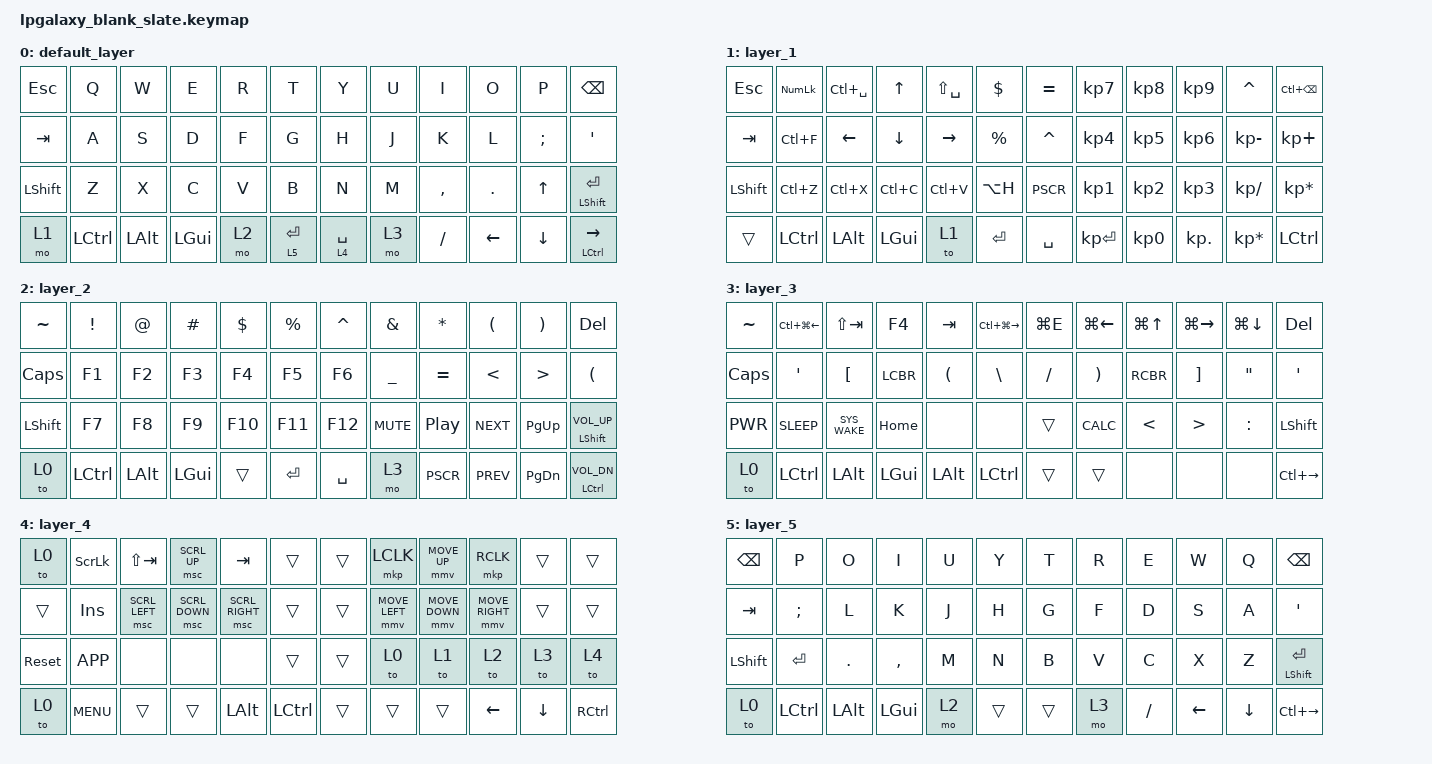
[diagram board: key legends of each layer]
#include <behaviors.dtsi>
#include <dt-bindings/zmk/keys.h>
#include <dt-bindings/zmk/pointing.h>

/ {
    keymap {
        compatible = "zmk,keymap";

        default_layer {
            bindings = <
                &kp ESC    &kp Q      &kp W      &kp E      &kp R      &kp T      &kp Y      &kp U      &kp I      &kp O      &kp P      &kp BKSP
                &kp TAB    &kp A      &kp S      &kp D      &kp F      &kp G      &kp H      &kp J      &kp K      &kp L      &kp SEMI   &kp QUOT
                &kp LSHFT  &kp Z      &kp X      &kp C      &kp V      &kp B      &kp N      &kp M      &kp COMMA  &kp DOT    &kp UP     &mt LSHFT RET
                &mo 1      &kp LCTRL  &kp LALT   &kp LGUI   &mo 2      &lt 5 RET   &lt 4 SPACE &mo 3      &kp FSLH   &kp LEFT   &kp DOWN   &mt LCTRL RIGHT
            >;
        };

        layer_1 {
            bindings = <
                &kp ESC    &kp KP_NLCK   &kp LC(SPACE)  &kp UP      &kp LS(SPACE)  &kp DLLR   &kp EQUAL  &kp KP_N7  &kp KP_N8  &kp KP_N9  &kp CARET      &kp LC(BKSP)
                &kp TAB    &kp LC(F)     &kp LEFT       &kp DOWN    &kp RIGHT      &kp PRCNT  &kp CARET  &kp KP_N4  &kp KP_N5  &kp KP_N6  &kp KP_MINUS   &kp KP_PLUS
                &kp LSHFT  &kp LC(Z)     &kp LC(X)      &kp LC(C)   &kp LC(V)      &kp LA(H)  &kp PSCR   &kp KP_N1  &kp KP_N2  &kp KP_N3  &kp KP_SLASH   &kp KP_MULTIPLY
                &trans     &kp LCTRL     &kp LALT       &kp LGUI    &to 1          &kp RET    &kp SPACE  &kp KP_ENTER &kp KP_N0 &kp KP_DOT &kp KP_MULTIPLY &kp LCTRL
            >;
        };

        layer_2 {
            bindings = <
                &kp TILDE  &kp EXCL     &kp AT        &kp HASH    &kp DLLR     &kp PRCNT   &kp CARET  &kp AMPS  &kp STAR   &kp LPAR   &kp RPAR   &kp DEL
                &kp CAPS   &kp F1       &kp F2        &kp F3      &kp F4       &kp F5      &kp F6     &kp UNDER &kp EQUAL &kp LT     &kp GT     &kp LPAR
                &kp LSHFT  &kp F7       &kp F8        &kp F9      &kp F10      &kp F11     &kp F12    &kp C_MUTE &kp C_PLAY_PAUSE &kp C_NEXT &kp PG_UP  &mt LSHFT C_VOL_UP
                &to 0      &kp LCTRL    &kp LALT      &kp LGUI    &trans       &kp RET     &kp SPACE  &mo 3      &kp PSCR   &kp C_PREV &kp PG_DN  &mt LCTRL C_VOL_DN
            >;
        };

        layer_3 {
            bindings = <
                &kp TILDE  &kp LC(LG(LEFT)) &kp LS(TAB) &kp F4     &kp TAB      &kp LC(LG(RIGHT)) &kp LG(E)  &kp LG(LEFT) &kp LG(UP)   &kp LG(RIGHT) &kp LG(DOWN) &kp DEL
                &kp CAPS   &kp QUOT          &kp LBKT    &kp LCBR   &kp LPAR     &kp BSLH         &kp FSLH   &kp RPAR      &kp RCBR      &kp RBKT      &kp DQT       &kp QUOT
                &kp K_PWR  &kp K_SLEEP       &kp SYS_WAKE &kp HOME  &none        &none            &trans      &kp K_CALC    &kp LT        &kp GT        &kp COLON     &kp LSHFT
                &to 0      &kp LCTRL         &kp LALT    &kp LGUI   &kp LALT     &kp LCTRL        &trans      &trans        &none         &none         &none         &kp LC(RIGHT)
            >;
        };

        layer_4 {
            bindings = <
                &to 0      &kp SLCK    &kp LS(TAB)  &msc SCRL_UP   &kp TAB     &trans     &trans     &mkp LCLK   &mmv MOVE_UP    &mkp RCLK   &trans     &trans
                &trans     &kp INS     &msc SCRL_LEFT &msc SCRL_DOWN &msc SCRL_RIGHT &trans &trans &mmv MOVE_LEFT &mmv MOVE_DOWN &mmv MOVE_RIGHT &trans &trans
                &sys_reset &kp K_APP   &none        &none          &none       &trans     &trans     &to 0        &to 1           &to 2           &to 3     &to 4
                &to 0      &kp K_MENU  &trans       &trans         &kp LALT    &kp LCTRL  &trans     &trans       &trans           &kp LEFT       &kp DOWN  &kp RCTRL
            >;
        };

        layer_5 {
            bindings = <
                &kp BKSP   &kp P       &kp O        &kp I      &kp U      &kp Y      &kp T      &kp R      &kp E      &kp W      &kp Q      &kp BKSP
                &kp TAB    &kp SEMI    &kp L        &kp K      &kp J      &kp H      &kp G      &kp F      &kp D      &kp S      &kp A      &kp QUOT
                &kp LSHFT  &kp RET     &kp DOT      &kp COMMA  &kp M      &kp N      &kp B      &kp V      &kp C      &kp X      &kp Z      &mt LSHFT RET
                &to 0      &kp LCTRL   &kp LALT     &kp LGUI   &mo 2      &trans     &trans     &mo 3      &kp FSLH   &kp LEFT   &kp DOWN   &kp LC(RIGHT)
            >;
        };
    };
};
